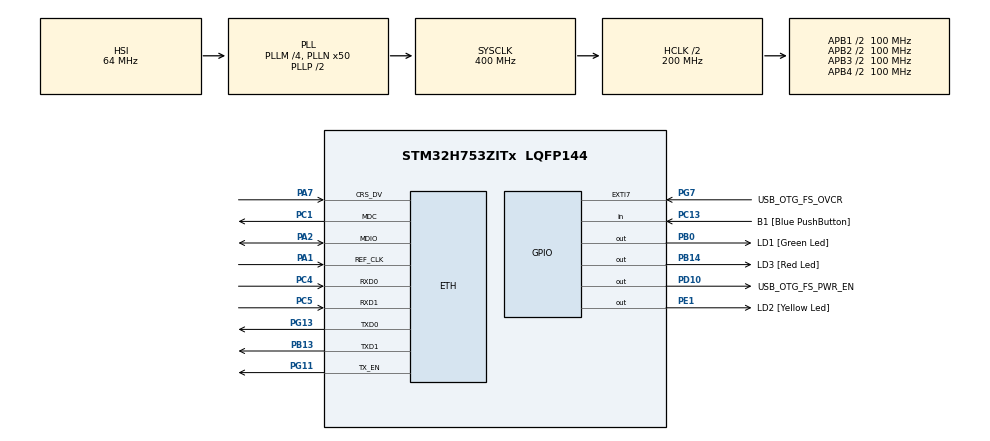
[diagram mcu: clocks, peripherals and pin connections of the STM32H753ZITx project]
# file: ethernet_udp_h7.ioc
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CORTEX_M7.AccessPermission_S-Cortex_Memory_Protection_Unit_Region1_Settings_S=MPU_REGION_FULL_ACCESS
CORTEX_M7.AccessPermission_S-Cortex_Memory_Protection_Unit_Region2_Settings_S=MPU_REGION_FULL_ACCESS
CORTEX_M7.BaseAddress_S-Cortex_Memory_Protection_Unit_Region1_Settings_S=0x30000000
CORTEX_M7.BaseAddress_S-Cortex_Memory_Protection_Unit_Region2_Settings_S=0x30000000
CORTEX_M7.CPU_DCache=Enabled
CORTEX_M7.CPU_ICache=Enabled
CORTEX_M7.Enable_S-Cortex_Memory_Protection_Unit_Region1_Settings_S=MPU_REGION_ENABLE
CORTEX_M7.Enable_S-Cortex_Memory_Protection_Unit_Region2_Settings_S=MPU_REGION_ENABLE
CORTEX_M7.IsShareable_S-Cortex_Memory_Protection_Unit_Region1_Settings_S=MPU_ACCESS_SHAREABLE
CORTEX_M7.MPU_Control=MPU_PRIVILEGED_DEFAULT
CORTEX_M7.Size_S-Cortex_Memory_Protection_Unit_Region1_Settings_S=MPU_REGION_SIZE_64KB
CORTEX_M7.Size_S-Cortex_Memory_Protection_Unit_Region2_Settings_S=MPU_REGION_SIZE_256B
CORTEX_M7.TypeExtField_S-Cortex_Memory_Protection_Unit_Region1_Settings_S=MPU_TEX_LEVEL1
CORTEX_M7.default_mode_Activation=1
ETH.MediaInterface=HAL_ETH_RMII_MODE
LWIP.BSP.number=1
LWIP.IP_ADDRESS=192.168.001.004
LWIP.LWIP_DHCP=1
LWIP.MEM_SIZE=5000
LWIP.NETMASK_ADDRESS=255.255.255.000
LWIP.Version=v2.1.2_Cube
LWIP0.BSP.STBoard=false
LWIP0.BSP.api=BSP_COMPONENT_DRIVER
LWIP0.BSP.component=LAN8742
LWIP0.BSP.instance=LAN8742
LWIP0.BSP.name=Driver_PHY
LWIP0.BSP.semaphore=S_LAN8742
LWIP0.BSP.solution=LAN8742
Mcu.Family=STM32H7
Mcu.Name=STM32H753ZITx
Mcu.Package=LQFP144
NVIC.PriorityGroup=NVIC_PRIORITYGROUP_4
PA1.GPIO_Speed=GPIO_SPEED_FREQ_VERY_HIGH
PA1.Mode=RMII
PA1.Signal=ETH_REF_CLK
PA11.Signal=USB_OTG_FS_DM
PA12.Signal=USB_OTG_FS_DP
PA2.GPIO_Speed=GPIO_SPEED_FREQ_VERY_HIGH
PA2.Mode=RMII
PA2.Signal=ETH_MDIO
PA7.GPIO_Speed=GPIO_SPEED_FREQ_VERY_HIGH
PA7.Mode=RMII
PA7.Signal=ETH_CRS_DV
PA8.Signal=USB_OTG_FS_SOF
PA9.Signal=USB_OTG_FS_VBUS
PB0.GPIO_Label=LD1 [Green Led]
PB0.Signal=GPIO_Output
PB13.GPIO_Speed=GPIO_SPEED_FREQ_VERY_HIGH
PB13.Mode=RMII
PB13.Signal=ETH_TXD1
PB14.GPIO_Label=LD3 [Red Led]
PB14.Signal=GPIO_Output
PC1.GPIO_Speed=GPIO_SPEED_FREQ_VERY_HIGH
PC1.Mode=RMII
PC1.Signal=ETH_MDC
PC13.GPIO_Label=B1 [Blue PushButton]
PC13.Signal=GPIO_Input
PC14-OSC32_IN\ (OSC32_IN).Signal=RCC_OSC32_IN
PC15-OSC32_OUT\ (OSC32_OUT).Signal=RCC_OSC32_OUT
PC4.GPIO_Speed=GPIO_SPEED_FREQ_VERY_HIGH
PC4.Mode=RMII
PC4.Signal=ETH_RXD0
PC5.GPIO_Speed=GPIO_SPEED_FREQ_VERY_HIGH
PC5.Mode=RMII
PC5.Signal=ETH_RXD1
PD10.GPIO_Label=USB_OTG_FS_PWR_EN
PD10.Signal=GPIO_Output
PD8.GPIO_Label=STLINK_RX
PD8.Signal=USART3_TX
PD9.GPIO_Label=STLINK_TX
PD9.Signal=USART3_RX
PE1.GPIO_Label=LD2 [Yellow Led]
PE1.Signal=GPIO_Output
PG11.GPIO_Speed=GPIO_SPEED_FREQ_VERY_HIGH
PG11.Mode=RMII
PG11.Signal=ETH_TX_EN
PG13.GPIO_Speed=GPIO_SPEED_FREQ_VERY_HIGH
PG13.Mode=RMII
PG13.Signal=ETH_TXD0
PG7.GPIO_Label=USB_OTG_FS_OVCR
PG7.Signal=GPXTI7
PH0-OSC_IN\ (PH0).Signal=RCC_OSC_IN
PH1-OSC_OUT\ (PH1).Signal=RCC_OSC_OUT
ProjectManager.HeapSize=0x200
ProjectManager.StackSize=0x400
ProjectManager.TargetToolchain=STM32CubeIDE
RCC.ADCFreq_Value=129000000
RCC.APB1Freq_Value=100000000
RCC.APB2Freq_Value=100000000
RCC.APB3Freq_Value=100000000
RCC.APB4Freq_Value=100000000
RCC.CortexFreq_Value=400000000
RCC.D1PPRE=RCC_APB3_DIV2
RCC.D2PPRE1=RCC_APB1_DIV2
RCC.D2PPRE2=RCC_APB2_DIV2
RCC.D3PPRE=RCC_APB4_DIV2
RCC.DIVM1=4
RCC.DIVN1=50
RCC.DIVQ1=4
RCC.HCLKFreq_Value=200000000
RCC.HPRE=RCC_HCLK_DIV2
RCC.HSE_VALUE=8000000
RCC.PLL2FRACN=0
RCC.PLL3FRACN=0
RCC.PLLFRACN=0
RCC.PWR_Regulator_Voltage_Scale=PWR_REGULATOR_VOLTAGE_SCALE1
RCC.SYSCLKFreq_VALUE=400000000
RCC.SYSCLKSource=RCC_SYSCLKSOURCE_PLLCLK
RCC.USBFreq_Value=200000000
VP_LWIP_VS_Enabled.Mode=Enabled
VP_MEMORYMAP_VS_MEMORYMAP.Mode=CurAppReg
board=NUCLEO-H753ZI

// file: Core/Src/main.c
/* USER CODE BEGIN Header */
/**
  ******************************************************************************
  * @file           : main.c
  * @brief          : Main program body
  ******************************************************************************
  * @attention
  *
  * Copyright (c) 2024 STMicroelectronics.
  * All rights reserved.
  *
  * This software is licensed under terms that can be found in the LICENSE file
  * in the root directory of this software component.
  * If no LICENSE file comes with this software, it is provided AS-IS.
  *
  ******************************************************************************
  */
/* USER CODE END Header */
#include "main.h"
#include "lwip.h"

/* USER CODE BEGIN Includes */
#include "lwip/pbuf.h"
#include "lwip/udp.h"
#include "lwip/dhcp.h"
#include "lwip/netif.h"
/* USER CODE END Includes */

/* USER CODE BEGIN PD */
#define DHCP_OFF                   (uint8_t) 0
#define DHCP_START                 (uint8_t) 1
#define DHCP_WAIT_ADDRESS          (uint8_t) 2
#define DHCP_ADDRESS_ASSIGNED      (uint8_t) 3
#define DHCP_TIMEOUT               (uint8_t) 4
#define DHCP_LINK_DOWN             (uint8_t) 5

#define MAX_DHCP_TRIES 3
/* USER CODE END PD */

/* USER CODE BEGIN PV */
uint32_t connected=0;
__IO uint8_t DHCP_state = DHCP_OFF;

extern struct netif gnetif;
/* USER CODE END PV */

void SystemClock_Config(void);
static void MPU_Config(void);
static void MX_GPIO_Init(void);
/* USER CODE BEGIN PFP */
void udp_receive_callback(void *arg, struct udp_pcb *upcb, struct pbuf *p, const ip_addr_t *addr, u16_t port);
void DHCP_Handle();
/* USER CODE END PFP */

/* USER CODE BEGIN 0 */
/**
  * @brief This function is called when an UDP datagrm has been received on the port UDP_PORT.
  * @param arg user supplied argument (udp_pcb.recv_arg)
  * @param pcb the udp_pcb which received data
  * @param p the packet buffer that was received
  * @param addr the remote IP address from which the packet was received
  * @param port the remote port from which the packet was received
  * @retval None
  */
void udp_receive_callback(void *arg, struct udp_pcb *upcb, struct pbuf *p, const ip_addr_t *addr, u16_t port){
  __NOP();
  udp_connect(upcb, addr, port);
    /* Tell the client that we have accepted it */
  udp_send(upcb, p);
   /* free the UDP connection, so we can accept new clients */
  udp_disconnect(upcb);
    /* Free receive pbuf */
  pbuf_free(p);
}

void DHCP_Handle(){
    struct netif *netif = (struct netif *) &gnetif;
    ip_addr_t ipaddr;
    ip_addr_t netmask;
    ip_addr_t gw;
    struct dhcp *dhcp;
    switch (DHCP_state)
    {
    case DHCP_START:
      {
        ip_addr_set_zero_ip4(&netif->ip_addr);
        ip_addr_set_zero_ip4(&netif->netmask);
        ip_addr_set_zero_ip4(&netif->gw);
        DHCP_state = DHCP_WAIT_ADDRESS;
#ifdef USE_LCD
        LCD_UsrLog ("  State: Looking for DHCP server ...\n");
#endif
        dhcp_start(netif);
      }
      break;
    case DHCP_WAIT_ADDRESS:
      {
        if (dhcp_supplied_address(netif))
        {
          DHCP_state = DHCP_ADDRESS_ASSIGNED;

#ifdef USE_LCD
          sprintf((char *)iptxt, "%s", ip4addr_ntoa(netif_ip4_addr(netif)));
          LCD_UsrLog ("IP address assigned by a DHCP server: %s\n", iptxt);
#endif
        }
        else
        {
          dhcp = (struct dhcp *)netif_get_client_data(netif, LWIP_NETIF_CLIENT_DATA_INDEX_DHCP);

          /* DHCP timeout */
          if (dhcp->tries > MAX_DHCP_TRIES)
          {
            DHCP_state = DHCP_TIMEOUT;

            /* Static address used */
            IP_ADDR4(&ipaddr, 192 ,168 , 1 , 4 );
            IP_ADDR4(&netmask, 255, 255, 255, 0);
            IP_ADDR4(&gw, 192 ,168 , 1 , 1);
            netif_set_addr(netif, ip_2_ip4(&ipaddr), ip_2_ip4(&netmask), ip_2_ip4(&gw));

#ifdef USE_LCD
            sprintf((char *)iptxt, "%s", ip4addr_ntoa(netif_ip4_addr(netif)));
            LCD_UsrLog ("DHCP Timeout !! \n");
            LCD_UsrLog ("Static IP address: %s\n", iptxt);
#endif
          }
        }
      }
      break;
  case DHCP_LINK_DOWN:
    {
      DHCP_state = DHCP_OFF;
    }
    break;
    default: break;
    }
}
/* USER CODE END 0 */

int main(void)
{

  /* MPU Configuration--------------------------------------------------------*/
  MPU_Config();

  /* Enable the CPU Cache */

  /* Enable I-Cache---------------------------------------------------------*/
  SCB_EnableICache();

  /* Enable D-Cache---------------------------------------------------------*/
  SCB_EnableDCache();

  /* MCU Configuration--------------------------------------------------------*/

  /* Reset of all peripherals, Initializes the Flash interface and the Systick. */
  HAL_Init();

  /* Configure the system clock */
  SystemClock_Config();

  /* Initialize all configured peripherals */
  MX_GPIO_Init();
  MX_LWIP_Init();

  /* Infinite loop */
  /* USER CODE BEGIN WHILE */
  while (1)
  {
struct udp_pcb *upcb;
    err_t err;
    ip_addr_t DestIPaddr;
    MX_LWIP_Process();
    DHCP_Handle();
    if(connected){
    	connected=0;
      /* Create a new UDP control block  */
      upcb = udp_new();
      if(upcb!=NULL){
        /*assign destination IP address */
        IP4_ADDR( &DestIPaddr, 192, 168, 1, 1 );

        /* Using IP_ADDR_ANY allow the upcb to be used by any local interface */
         err = udp_bind(upcb, IP_ADDR_ANY, 3999);
        /* configure destination IP address and port */
        // err= udp_connect(upcb, &DestIPaddr, 3999);

        if (err == ERR_OK){
            /* Set a receive callback for the upcb */
          udp_recv(upcb, udp_receive_callback, NULL);
        	//  u8_t   data[100]= {"Hello"};
        	//  struct pbuf *p;
        	//  /* allocate pbuf from pool*/
        	//  p = pbuf_alloc(PBUF_TRANSPORT,strlen((char*)data), PBUF_POOL); /* Set a receive callback for the upcb */
        	// if (p != NULL)
        	// {
          //   /* Set a receive callback for the upcb */
          //   udp_recv(upcb, udp_receive_callback, NULL);
        	// 	/* copy data to pbuf */
          //   pbuf_take(p, (char*)data, strlen((char*)data));
          //   udp_send(upcb, p);
			    // /* free pbuf */
          //   pbuf_free(p);
          //   // udp_disconnect(upcb);
        	// }
        }
      }
    }
    /* USER CODE END WHILE */

  }
}

void SystemClock_Config(void)
{
  RCC_OscInitTypeDef RCC_OscInitStruct = {0};
  RCC_ClkInitTypeDef RCC_ClkInitStruct = {0};

  /** Supply configuration update enable
  */
  HAL_PWREx_ConfigSupply(PWR_LDO_SUPPLY);

  /** Configure the main internal regulator output voltage
  */
  __HAL_PWR_VOLTAGESCALING_CONFIG(PWR_REGULATOR_VOLTAGE_SCALE1);

  while(!__HAL_PWR_GET_FLAG(PWR_FLAG_VOSRDY)) {}

  /** Initializes the RCC Oscillators according to the specified parameters
  * in the RCC_OscInitTypeDef structure.
  */
  RCC_OscInitStruct.OscillatorType = RCC_OSCILLATORTYPE_HSI;
  RCC_OscInitStruct.HSIState = RCC_HSI_DIV1;
  RCC_OscInitStruct.HSICalibrationValue = RCC_HSICALIBRATION_DEFAULT;
  RCC_OscInitStruct.PLL.PLLState = RCC_PLL_ON;
  RCC_OscInitStruct.PLL.PLLSource = RCC_PLLSOURCE_HSI;
  RCC_OscInitStruct.PLL.PLLM = 4;
  RCC_OscInitStruct.PLL.PLLN = 50;
  RCC_OscInitStruct.PLL.PLLP = 2;
  RCC_OscInitStruct.PLL.PLLQ = 4;
  RCC_OscInitStruct.PLL.PLLR = 2;
  RCC_OscInitStruct.PLL.PLLRGE = RCC_PLL1VCIRANGE_3;
  RCC_OscInitStruct.PLL.PLLVCOSEL = RCC_PLL1VCOWIDE;
  RCC_OscInitStruct.PLL.PLLFRACN = 0;
  if (HAL_RCC_OscConfig(&RCC_OscInitStruct) != HAL_OK)
  {
    Error_Handler();
  }

  /** Initializes the CPU, AHB and APB buses clocks
  */
  RCC_ClkInitStruct.ClockType = RCC_CLOCKTYPE_HCLK|RCC_CLOCKTYPE_SYSCLK
                              |RCC_CLOCKTYPE_PCLK1|RCC_CLOCKTYPE_PCLK2
                              |RCC_CLOCKTYPE_D3PCLK1|RCC_CLOCKTYPE_D1PCLK1;
  RCC_ClkInitStruct.SYSCLKSource = RCC_SYSCLKSOURCE_PLLCLK;
  RCC_ClkInitStruct.SYSCLKDivider = RCC_SYSCLK_DIV1;
  RCC_ClkInitStruct.AHBCLKDivider = RCC_HCLK_DIV2;
  RCC_ClkInitStruct.APB3CLKDivider = RCC_APB3_DIV2;
  RCC_ClkInitStruct.APB1CLKDivider = RCC_APB1_DIV2;
  RCC_ClkInitStruct.APB2CLKDivider = RCC_APB2_DIV2;
  RCC_ClkInitStruct.APB4CLKDivider = RCC_APB4_DIV2;

  if (HAL_RCC_ClockConfig(&RCC_ClkInitStruct, FLASH_LATENCY_2) != HAL_OK)
  {
    Error_Handler();
  }
}

static void MX_GPIO_Init(void)
{
  GPIO_InitTypeDef GPIO_InitStruct = {0};

  /* GPIO Ports Clock Enable */
  __HAL_RCC_GPIOC_CLK_ENABLE();
  __HAL_RCC_GPIOH_CLK_ENABLE();
  __HAL_RCC_GPIOA_CLK_ENABLE();
  __HAL_RCC_GPIOB_CLK_ENABLE();
  __HAL_RCC_GPIOD_CLK_ENABLE();
  __HAL_RCC_GPIOG_CLK_ENABLE();
  __HAL_RCC_GPIOE_CLK_ENABLE();

  /*Configure GPIO pin Output Level */
  HAL_GPIO_WritePin(GPIOB, LD1_Pin|LD3_Pin, GPIO_PIN_RESET);

  /*Configure GPIO pin Output Level */
  HAL_GPIO_WritePin(USB_OTG_FS_PWR_EN_GPIO_Port, USB_OTG_FS_PWR_EN_Pin, GPIO_PIN_RESET);

  /*Configure GPIO pin Output Level */
  HAL_GPIO_WritePin(LD2_GPIO_Port, LD2_Pin, GPIO_PIN_RESET);

  /*Configure GPIO pin : B1_Pin */
  GPIO_InitStruct.Pin = B1_Pin;
  GPIO_InitStruct.Mode = GPIO_MODE_INPUT;
  GPIO_InitStruct.Pull = GPIO_NOPULL;
  HAL_GPIO_Init(B1_GPIO_Port, &GPIO_InitStruct);

  /*Configure GPIO pins : LD1_Pin LD3_Pin */
  GPIO_InitStruct.Pin = LD1_Pin|LD3_Pin;
  GPIO_InitStruct.Mode = GPIO_MODE_OUTPUT_PP;
  GPIO_InitStruct.Pull = GPIO_NOPULL;
  GPIO_InitStruct.Speed = GPIO_SPEED_FREQ_LOW;
  HAL_GPIO_Init(GPIOB, &GPIO_InitStruct);

  /*Configure GPIO pins : STLINK_RX_Pin STLINK_TX_Pin */
  GPIO_InitStruct.Pin = STLINK_RX_Pin|STLINK_TX_Pin;
  GPIO_InitStruct.Mode = GPIO_MODE_AF_PP;
  GPIO_InitStruct.Pull = GPIO_NOPULL;
  GPIO_InitStruct.Speed = GPIO_SPEED_FREQ_LOW;
  GPIO_InitStruct.Alternate = GPIO_AF7_USART3;
  HAL_GPIO_Init(GPIOD, &GPIO_InitStruct);

  /*Configure GPIO pin : USB_OTG_FS_PWR_EN_Pin */
  GPIO_InitStruct.Pin = USB_OTG_FS_PWR_EN_Pin;
  GPIO_InitStruct.Mode = GPIO_MODE_OUTPUT_PP;
  GPIO_InitStruct.Pull = GPIO_NOPULL;
  GPIO_InitStruct.Speed = GPIO_SPEED_FREQ_LOW;
  HAL_GPIO_Init(USB_OTG_FS_PWR_EN_GPIO_Port, &GPIO_InitStruct);

  /*Configure GPIO pin : USB_OTG_FS_OVCR_Pin */
  GPIO_InitStruct.Pin = USB_OTG_FS_OVCR_Pin;
  GPIO_InitStruct.Mode = GPIO_MODE_IT_RISING;
  GPIO_InitStruct.Pull = GPIO_NOPULL;
  HAL_GPIO_Init(USB_OTG_FS_OVCR_GPIO_Port, &GPIO_InitStruct);

  /*Configure GPIO pins : PA8 PA11 PA12 */
  GPIO_InitStruct.Pin = GPIO_PIN_8|GPIO_PIN_11|GPIO_PIN_12;
  GPIO_InitStruct.Mode = GPIO_MODE_AF_PP;
  GPIO_InitStruct.Pull = GPIO_NOPULL;
  GPIO_InitStruct.Speed = GPIO_SPEED_FREQ_LOW;
  GPIO_InitStruct.Alternate = GPIO_AF10_OTG1_FS;
  HAL_GPIO_Init(GPIOA, &GPIO_InitStruct);

  /*Configure GPIO pin : LD2_Pin */
  GPIO_InitStruct.Pin = LD2_Pin;
  GPIO_InitStruct.Mode = GPIO_MODE_OUTPUT_PP;
  GPIO_InitStruct.Pull = GPIO_NOPULL;
  GPIO_InitStruct.Speed = GPIO_SPEED_FREQ_LOW;
  HAL_GPIO_Init(LD2_GPIO_Port, &GPIO_InitStruct);

}

 /* MPU Configuration */

void MPU_Config(void)
{
  MPU_Region_InitTypeDef MPU_InitStruct = {0};

  /* Disables the MPU */
  HAL_MPU_Disable();

  /** Initializes and configures the Region and the memory to be protected
  */
  MPU_InitStruct.Enable = MPU_REGION_ENABLE;
  MPU_InitStruct.Number = MPU_REGION_NUMBER0;
  MPU_InitStruct.BaseAddress = 0x0;
  MPU_InitStruct.Size = MPU_REGION_SIZE_4GB;
  MPU_InitStruct.SubRegionDisable = 0x87;
  MPU_InitStruct.TypeExtField = MPU_TEX_LEVEL0;
  MPU_InitStruct.AccessPermission = MPU_REGION_NO_ACCESS;
  MPU_InitStruct.DisableExec = MPU_INSTRUCTION_ACCESS_DISABLE;
  MPU_InitStruct.IsShareable = MPU_ACCESS_SHAREABLE;
  MPU_InitStruct.IsCacheable = MPU_ACCESS_NOT_CACHEABLE;
  MPU_InitStruct.IsBufferable = MPU_ACCESS_NOT_BUFFERABLE;

  HAL_MPU_ConfigRegion(&MPU_InitStruct);

  /** Initializes and configures the Region and the memory to be protected
  */
  MPU_InitStruct.Number = MPU_REGION_NUMBER1;
  MPU_InitStruct.BaseAddress = 0x30000000;
  MPU_InitStruct.Size = MPU_REGION_SIZE_64KB;
  MPU_InitStruct.SubRegionDisable = 0x0;
  MPU_InitStruct.TypeExtField = MPU_TEX_LEVEL1;
  MPU_InitStruct.AccessPermission = MPU_REGION_FULL_ACCESS;
  MPU_InitStruct.DisableExec = MPU_INSTRUCTION_ACCESS_ENABLE;

  HAL_MPU_ConfigRegion(&MPU_InitStruct);

  /** Initializes and configures the Region and the memory to be protected
  */
  MPU_InitStruct.Number = MPU_REGION_NUMBER2;
  MPU_InitStruct.Size = MPU_REGION_SIZE_256B;
  MPU_InitStruct.TypeExtField = MPU_TEX_LEVEL0;
  MPU_InitStruct.IsShareable = MPU_ACCESS_NOT_SHAREABLE;

  HAL_MPU_ConfigRegion(&MPU_InitStruct);
  /* Enables the MPU */
  HAL_MPU_Enable(MPU_PRIVILEGED_DEFAULT);

}

void Error_Handler(void)
{
  __disable_irq();
  while (1)
  {
  }
}
